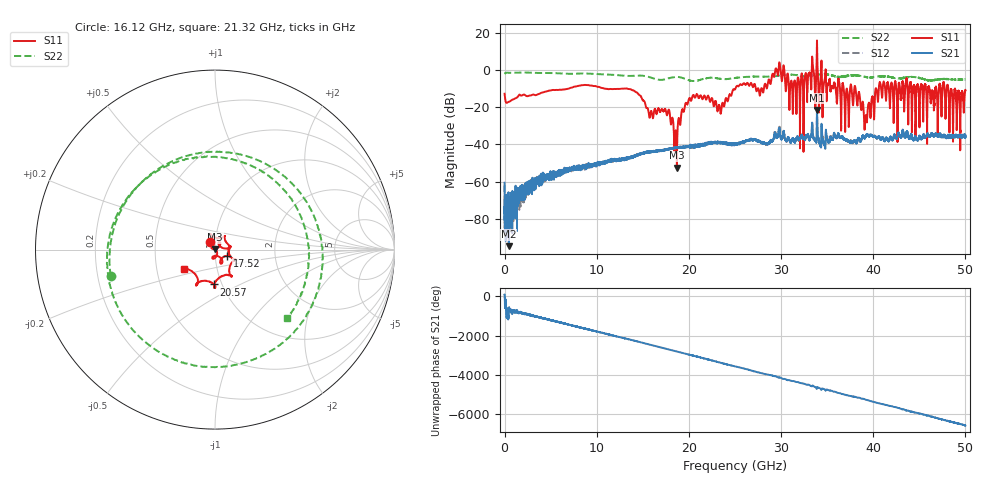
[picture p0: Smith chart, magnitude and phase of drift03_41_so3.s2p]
!Created with skrf (http://scikit-rf.org).
# Hz S RI R 50.0
!freq ReS11 ImS11 ReS21 ImS21 ReS12 ImS12 ReS22 ImS22
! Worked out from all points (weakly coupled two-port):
!   10001 points, 300 kHz to 50 GHz, reference 50 ohm
!   highest |S21| = -21.40 dB at 33.9 GHz (marker M1); lowest = -94.7 dB at 455.3 MHz (marker M2)
!   lowest |S11| = -52.6 dB at 18.7 GHz (marker M3), VSWR 1.00, Z = 50 + j0.233 ohm
!   |S11| at or under -10 dB: start of sweep to 6.943 GHz; 13.32 GHz to 25.05 GHz (11.72 GHz wide, 61.1 % of centre); 38.08 GHz to 40.26 GHz (2.184 GHz wide, 5.58 % of centre) (the widest 3 of 52)
!   |S22| runs from -5.9 to -1.3 dB; largest |S21 - S12| = 0.0074
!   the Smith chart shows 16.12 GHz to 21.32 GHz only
!   S11 on the Smith chart (normalised r, x): 16.12 GHz: 0.94, +0.08; 17.52 GHz: 1.15, -0.08; 20.57 GHz: 0.92, -0.37; 21.32 GHz: 0.69, -0.16
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300000  -0.2092 -0.0983  2.71e-05 0.000932  0.000515 0.000613  -0.762 -0.1861
4.552973e8  -0.0839 0.1122  -1.81e-05 -3.01e-06  0.000108 0.000184  -0.5087 0.6751
2.340286e9  0.0206 -0.2009  -0.000852 -9.15e-05  -0.000845 0.000132  0.0818 -0.8524
3.940276e9  -0.0172 0.241  0.000968 -0.000408  0.0014 -0.000334  -0.0223 0.8322
5.470267e9  0.0678 -0.282  -0.00164 0.000186  -0.00162 0.00021  0.1703 -0.809
7.135257e9  0.00915 0.3322  0.00202 -0.000914  0.00201 -0.000615  -0.0441 0.7922
8.33525e9  0.284 -0.2673  -0.00211 -0.001  -0.00237 -0.000905  0.6021 -0.5353
9.575243e9  -0.3718 -0.0483  0.00135 0.00235  0.00128 0.00229  -0.7861 -0.0961
1.124523e10  0.3062 0.0228  -0.00235 -0.00262  -0.0024 -0.00262  0.7571 0.021
1.61202e10  -0.0303 0.0426  0.0062 0.00214  0.00615 0.00208  -0.5808 -0.1469
1.66702e10  0.0535 0.0758  0.00436 -0.00491  0.00468 -0.00485  -0.3598 0.4179
1.751519e10  0.0693 -0.035  -0.00607 -0.00405  -0.0061 -0.00408  0.4863 0.3002
1.869519e10  0.000292 0.00233  0.00254 0.00773  0.00249 0.00784  -0.0876 -0.6485
2.057018e10  -0.00558 -0.1941  -0.00795 -0.00402  -0.00784 -0.00425  0.3706 0.347
2.131517e10  -0.1709 -0.109  -0.00494 0.00845  -0.00494 0.00823  0.399 -0.3825
2.500015e10  -0.2968 -0.0486  0.0073 0.00653  0.0077 0.00637  -0.1837 -0.5826
3.051512e10  0.2356 -0.1281  -0.00198 0.0126  -0.00225 0.0126  0.7429 -0.0663
3.213011e10  0.2017 0.3713  0.000121 -0.0149  -0.000432 -0.0152  -0.6966 0.00791
3.33351e10  0.468 -0.9966  -0.00436 0.0249  -0.00614 0.0236  0.6129 0.3686
3.38951e10  -1.002 -6.169  0.0848 0.00712  0.0822 0.00234  0.6834 -0.3159
4.167005e10  -0.2185 0.2855  -0.012 -0.00431  -0.0116 -0.00458  -0.6526 -0.0573
5e10  -0.1477 -0.2495  0.000994 -0.0175  0.00111 -0.0164  0.4668 -0.3142
